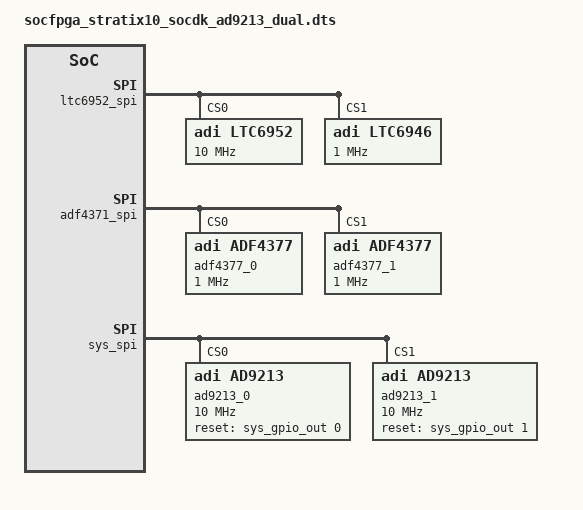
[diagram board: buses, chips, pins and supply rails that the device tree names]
/dts-v1/;
#include "socfpga_stratix10_socdk.dts"
#include <dt-bindings/iio/frequency/ad9528.h>

#define AD9213_JESD_L	16
#define AD9213_JESD_M	1
#define AD9213_JESD_F	2
#define AD9213_JESD_S	16
#define AD9213_JESD_HD	0
#define AD9213_JESD_N	16
#define AD9213_JESD_NP	16
#define AD9213_JESD_CS	0
#define AD9213_JESD_K	32
#define AD9213_JESD_SUBCLASS	1

/ {
	clocks {
		sys_clk: sys_clk {
			#clock-cells = <0>;
			compatible = "fixed-clock";
			clock-frequency = <100000000>;
			clock-output-names = "system_clock";
		};

		dma_clk: dma_clk {
			#clock-cells = <0x0>;
			compatible = "fixed-clock";
			clock-frequency = <250000000>;
			clock-output-names = "dma_clk";
		};

		adf_clk_out: adf_clk_out {
			#clock-cells = <0>;
			compatible = "fixed-clock";
			clock-frequency = /bits/ 64 <10000000000>;
			clock-output-names = "adf_clk_out";
		};
	};

	soc {
		sys_hps_bridges: bridge@ff200000 {
			compatible = "simple-bus";
			reg = <0xf9000000 0x02000000>;
			#address-cells = <1>;
			#size-cells = <1>;
			ranges = <0x00000000 0xf9000000 0x02000000>;

			ltc6952_spi: spi@200 {
				compatible = "altr,spi-1.0";
				reg = <0x00000200 0x00000020>;
				interrupt-parent = <&intc>;
				interrupts = <0 34 4>;
				#address-cells = <0x1>;
				#size-cells = <0x0>;

				ltc6952: ltc6952@0 {
					compatible = "adi,ltc6952";
					reg = <0>;

					#address-cells = <1>;
					#size-cells = <0>;

					spi-max-frequency = <10000000>;

					jesd204-device;
					#jesd204-cells = <2>;
					jesd204-sysref-provider;

					clock-output-names = "ltc6952_0_out0", "ltc6952_0_out1",
						"ltc6952_0_out2", "ltc6952_0_out3", "ltc6952_0_out4",
						"ltc6952_0_out5", "ltc6952_0_out6", "ltc6952_0_out7",
						"ltc6952_0_out8", "ltc6952_0_out9", "ltc6952_0_out10",
						"ltc6952_0_out11";
					#clock-cells = <1>;

					adi,vco-frequency-hz = <3750000000>;
					adi,ref-frequency-hz = <500000000>;

					adi,charge-pump-microamp = <1000>;

					ltc6952_c0: channel@0 {
						reg = <0>;
						adi,extended-name = "SYSREF_0";
						adi,divider = <768>;
						adi,digital-delay = <0>;
						adi,analog-delay = <0>;
						adi,sysref;
					};

					ltc6952_c1: channel@1 {
						reg = <1>;
						adi,extended-name = "SYSREF_1";
						adi,divider = <768>;
						adi,digital-delay = <0>;
						adi,analog-delay = <0>;
						adi,sysref;
					};

					ltc6952_c4: channel@4 {	// fpga device clock
						reg = <4>;
						adi,extended-name = "FMC_P1_GBTCLK1M2C";
						adi,divider = <12>;
						adi,digital-delay = <0>;
						adi,analog-delay = <0>;
					};

					ltc6952_c5: channel@5 {
						reg = <5>;	// fpga sysref
						adi,extended-name = "FMC_P1_GBTCLK3M2C";
						//adi,divider = <12>;
						adi,divider = <768>;
						adi,digital-delay = <0>;
						adi,analog-delay = <0>;
					};

					ltc6952_c6: channel@6 {
						reg = <6>;	// fpga reference clock 1
						adi,extended-name = "FMC_P2_GBTCLK1M2C";
						adi,divider = <12>;
						adi,digital-delay = <0>;
						adi,analog-delay = <0>;
					};

					ltc6952_c7: channel@7 {
						reg = <7>;
						adi,extended-name = "FMC_P2_GBTCLK3M2C";
						adi,divider = <12>;
						adi,digital-delay = <0>;
						adi,analog-delay = <0>;
					};

					ltc6952_c8: channel@8 {
						reg = <8>;	// fpga reference clock 2
						adi,extended-name = "CLK_COPY";
						adi,divider = <12>;
						adi,digital-delay = <0>;
						adi,analog-delay = <0>;
					};
				};

				ltc6946: ltc6946@1 {
					compatible = "adi,ltc6946";
					reg = <1>;

					#address-cells = <1>;
					#size-cells = <0>;

					spi-max-frequency = <1000000>;

					#clock-cells = <0>;
				};
			};

			adf4371_spi: spi@400 {
				compatible = "altr,spi-1.0";
				reg = <0x00000400 0x00000020>;
				interrupt-parent = <&intc>;
				interrupts = <0 33 4>;
				#address-cells = <0x1>;
				#size-cells = <0x0>;


				adf4377_0: adf4377_0@0 {
					compatible = "adi,adf4377";
					reg = <0>;

					#address-cells = <1>;
					#size-cells = <0>;

					spi-max-frequency = <1000000>;
				};

				adf4377_1: adf4377_1@1 {
					compatible = "adi,adf4377";
					reg = <1>;

					#address-cells = <1>;
					#size-cells = <0>;

					spi-max-frequency = <1000000>;
				};
			};

			sys_gpio_out: gpio@20 {
				compatible = "altr,pio-1.0";
				reg = <0x00000020 0x00000010>;
				altr,gpio-bank-width = <32>;
				resetvalue = <0>;
				#gpio-cells = <2>;
				gpio-controller;
			};

			sys_spi: spi@40 {
				compatible = "altr,spi-1.0";
				reg = <0x00000040 0x00000020>;
				interrupt-parent = <&intc>;
				interrupts = <0 24 4>;
				#address-cells = <0x1>;
				#size-cells = <0x0>;

				ad9213_0: ad9213_0@0 {
					compatible = "adi,ad9213";
					reg = <0>;

					#address-cells = <1>;
					#size-cells = <0>;

					spi-max-frequency = <10000000>;

					reset-gpios = <&sys_gpio_out 0 0>;

					clocks = <&adf_clk_out>, <&ad9213_0_jesd>, <&ltc6952 8>;
					clock-names = "sample_clk", "jesd_clk", "core_clk";

					adi,lmfc-offset = <0>;

					adi,lanes-per-device = <AD9213_JESD_L>;
					adi,converters-per-device = <AD9213_JESD_M>;
					adi,octets-per-frame = <AD9213_JESD_F>;
					adi,samples-per-converter-per-frame = <AD9213_JESD_S>;
					adi,high-density = <AD9213_JESD_HD>;
					adi,converter-resolution = <AD9213_JESD_N>;
					adi,bits-per-sample = <AD9213_JESD_NP>;
					adi,control-bits-per-sample = <AD9213_JESD_CS>;
					adi,frames-per-multiframe = <AD9213_JESD_K>;
					adi,subclass = <AD9213_JESD_SUBCLASS>;


					jesd204-device;
					#jesd204-cells = <2>;
					jesd204-top-device = <0>;
					jesd204-link-ids = <0>;

					jesd204-inputs = <&ltc6952 0 0>,
						<&ad9213_1 0 0>;
				};

				ad9213_1: ad9213_1@1 {
					compatible = "adi,ad9213";
					reg = <1>;

					#address-cells = <1>;
					#size-cells = <0>;

					spi-max-frequency = <10000000>;

					reset-gpios = <&sys_gpio_out 1 0>;

					clocks = <&adf_clk_out>, <&ad9213_1_jesd>, <&ltc6952 8>;
					clock-names = "sample_clk", "jesd_clk", "core_clk";

					adi,lmfc-offset = <0>;

					adi,lanes-per-device = <AD9213_JESD_L>;
					adi,converters-per-device = <AD9213_JESD_M>;
					adi,octets-per-frame = <AD9213_JESD_F>;
					adi,samples-per-converter-per-frame = <AD9213_JESD_S>;
					adi,high-density = <AD9213_JESD_HD>;
					adi,converter-resolution = <AD9213_JESD_N>;
					adi,bits-per-sample = <AD9213_JESD_NP>;
					adi,control-bits-per-sample = <AD9213_JESD_CS>;
					adi,frames-per-multiframe = <AD9213_JESD_K>;
					adi,subclass = <AD9213_JESD_SUBCLASS>;

					jesd204-device;
					#jesd204-cells = <2>;

					jesd204-inputs = <&ltc6952 0 0>;
				};
			};

			ad9213_0_link_pll: ad9213_0_link_pll@60000 {
				compatible = "altr,fpll";
				reg = <0x00060000 0x2000>;
				clocks = <&ltc6952 4>;

				adi,stratix10;

				#clock-cells = <0>;
				clock-output-names = "jesd204_ad9213_0_link_clock";
			};

			ad9213_1_link_pll: ad9213_1_link_pll@A0000 {
				compatible = "altr,fpll";
				reg = <0x000A0000 0x2000>;
				clocks = <&ltc6952 4>;

				adi,stratix10;

				#clock-cells = <0>;
				clock-output-names = "jesd204_ad9213_1_link_clock";
			};

			ad9213_0_adxcvr: ad9213_0_adxcvr@C4000 {
				compatible = "adi,altera-adxcvr-1.00.a";
				reg = <0x000C4000 0x00001000>,
					<0x00040000 0x00002000>,
					<0x00042000 0x00002000>,
					<0x00044000 0x00002000>,
					<0x00046000 0x00002000>,
					<0x00048000 0x00002000>,
					<0x0004A000 0x00002000>,
					<0x0004C000 0x00002000>,
					<0x0004E000 0x00002000>,
					<0x00050000 0x00002000>,
					<0x00052000 0x00002000>,
					<0x00054000 0x00002000>,
					<0x00056000 0x00002000>,
					<0x00058000 0x00002000>,
					<0x0005A000 0x00002000>,
					<0x0005C000 0x00002000>,
					<0x0005E000 0x00002000>;
				reg-names = "adxcvr", "adxcfg-0", "adxcfg-1", "adxcfg-2",
					"adxcfg-3", "adxcfg-4", "adxcfg-5", "adxcfg-6",
					"adxcfg-7", "adxcfg-8", "adxcfg-9", "adxcfg-10",
					"adxcfg-11", "adxcfg-12", "adxcfg-13", "adxcfg-14",
					"adxcfg-15";

				adi,stratix10;

				clocks = <&ltc6952 4>, <&ad9213_0_link_pll>;
				clock-names = "ref", "link";

				#clock-cells = <0>;
				clock-output-names = "jesd204_0_lane_clock";
			};

			ad9213_1_adxcvr: ad9213_1_adxcvr@CC000 {
				compatible = "adi,altera-adxcvr-1.00.a";
				reg = <0x000CC000 0x00001000>,
					<0x00080000 0x00002000>,
					<0x00082000 0x00002000>,
					<0x00084000 0x00002000>,
					<0x00086000 0x00002000>,
					<0x00088000 0x00002000>,
					<0x0008A000 0x00002000>,
					<0x0008C000 0x00002000>,
					<0x0008E000 0x00002000>,
					<0x00090000 0x00002000>,
					<0x00092000 0x00002000>,
					<0x00094000 0x00002000>,
					<0x00096000 0x00002000>,
					<0x00098000 0x00002000>,
					<0x0009A000 0x00002000>,
					<0x0009C000 0x00002000>,
					<0x0009E000 0x00002000>;
				reg-names = "adxcvr", "adxcfg-0", "adxcfg-1", "adxcfg-2",
					"adxcfg-3", "adxcfg-4", "adxcfg-5", "adxcfg-6",
					"adxcfg-7", "adxcfg-8", "adxcfg-9", "adxcfg-10",
					"adxcfg-11", "adxcfg-12", "adxcfg-13", "adxcfg-14",
					"adxcfg-15";

				adi,stratix10;

				clocks = <&ltc6952 6>, <&ad9213_1_link_pll>;
				clock-names = "ref", "link";

				#clock-cells = <0>;
				clock-output-names = "jesd204_1_lane_clock";
			};

			ad9213_0_jesd: ad9213_0_jesd204@C0000 {
				compatible = "adi,axi-jesd204-rx-1.0";
				reg = <0x000C0000 0x4000>;

				interrupt-parent = <&intc>;
				interrupts = <0 28 4>;

				clocks = <&sys_clk>, <&ad9213_0_link_pll>, <&ad9213_0_adxcvr 0>;
				clock-names = "s_axi_aclk", "device_clk", "lane_clk";

				#clock-cells = <0>;
				clock-output-names = "jesd_0_lane_clk";

				adi,octets-per-frame = <AD9213_JESD_F>;
				adi,frames-per-multiframe = <AD9213_JESD_K>;
				adi,subclass = <AD9213_JESD_SUBCLASS>;

				adi,sysref-lmfc-offset = <8>;
			};

			ad9213_1_jesd: ad9213_1_jesd204@C8000 {
				compatible = "adi,axi-jesd204-rx-1.0";
				reg = <0x000C8000 0x4000>;

				interrupt-parent = <&intc>;
				interrupts = <0 29 4>;

				clocks = <&sys_clk>, <&ad9213_1_link_pll>, <&ad9213_1_adxcvr 0>;
				clock-names = "s_axi_aclk", "device_clk", "lane_clk";

				#clock-cells = <0>;
				clock-output-names = "jesd_1_lane_clk";

				adi,octets-per-frame = <AD9213_JESD_F>;
				adi,frames-per-multiframe = <AD9213_JESD_K>;
				adi,subclass = <AD9213_JESD_SUBCLASS>;

				adi,sysref-lmfc-offset = <8>;
			};

			rx_dma: dma@D2000 {
				compatible = "adi,axi-dmac-1.00.a";
				reg = <0x000D2000 0x10000>;
				#dma-cells = <1>;
				#clock-cells = <0>;
				interrupts = <0 30 4>;
				clocks = <&dma_clk>;

				adi,channels {
					#size-cells = <0>;
					#address-cells = <1>;

					dma-channel@0 {
						reg = <0>;
						adi,source-bus-width = <1024>;
						adi,source-bus-type = <2>;
						adi,destination-bus-width = <128>;
						adi,destination-bus-type = <0>;
					};
				};
			};

			axi_ad9213_core_rx: axi-ad9213-rx-hpc@D0000 {
				//compatible = "adi,axi-ad9371-rx-1.0";
				compatible = "xlnx,axi-ad-mc-adc-1.00.a";
				reg = <0x000D0000 0x00002000>;
				dmas = <&rx_dma 0>;
				dma-names = "ad-mc-adc-dma";
				//spibus-connected = <&ad9213_0>;
			};
		};
	};
};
